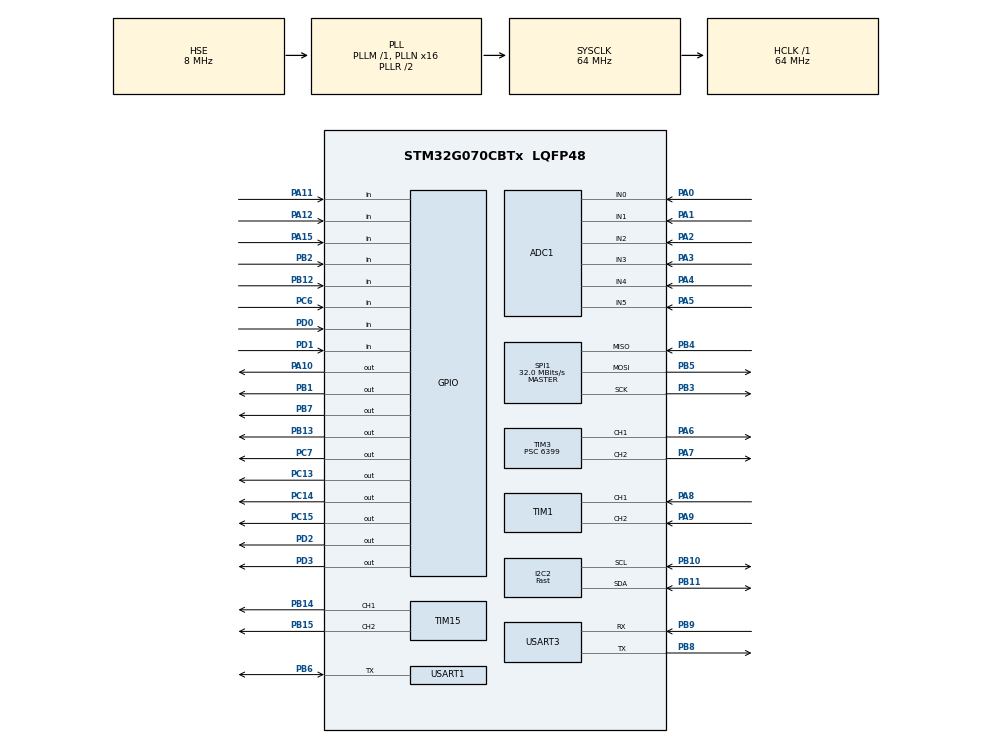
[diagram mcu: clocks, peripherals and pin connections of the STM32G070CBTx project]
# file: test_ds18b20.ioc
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ADC1.Channel-0\#ChannelRegularConversion=ADC_CHANNEL_0
ADC1.NbrOfConversionFlag=1
ADC1.Rank-0\#ChannelRegularConversion=1
ADC1.SamplingTime-0\#ChannelRegularConversion=ADC_SAMPLINGTIME_COMMON_1
ADC1.SelectedChannel=ADC_CHANNEL_0|ADC_CHANNEL_1|ADC_CHANNEL_2|ADC_CHANNEL_3|ADC_CHANNEL_4|ADC_CHANNEL_5|ADC_CHANNEL_TEMPSENSOR|ADC_CHANNEL_VREFINT
ADC1.master=1
I2C2.I2C_Speed_Mode=I2C_Fast
I2C2.Timing=0x00602173
Mcu.Family=STM32G0
Mcu.Name=STM32G070CBTx
Mcu.Package=LQFP48
NVIC.ADC1_IRQn=true\:0\:0\:false\:false\:true\:true\:true\:true
NVIC.I2C2_IRQn=true\:0\:0\:false\:false\:true\:true\:true\:true
NVIC.RCC_IRQn=true\:0\:0\:false\:false\:true\:true\:false\:true
NVIC.SPI1_IRQn=true\:0\:0\:false\:false\:true\:true\:true\:true
NVIC.TIM3_IRQn=true\:0\:0\:false\:false\:true\:true\:true\:true
NVIC.USART3_4_IRQn=true\:0\:0\:false\:false\:true\:true\:true\:true
PA0.Mode=IN0
PA0.Signal=ADC1_IN0
PA1.Mode=IN1
PA1.Signal=ADC1_IN1
PA10.Signal=GPIO_Output
PA11\ [PA9].Signal=GPIO_Input
PA12\ [PA10].Signal=GPIO_Input
PA13.Mode=Serial_Wire
PA13.Signal=SYS_SWDIO
PA14-BOOT0.Mode=Serial_Wire
PA14-BOOT0.Signal=SYS_SWCLK
PA15.Signal=GPIO_Input
PA2.Mode=IN2
PA2.Signal=ADC1_IN2
PA3.Mode=IN3
PA3.Signal=ADC1_IN3
PA4.Mode=IN4
PA4.Signal=ADC1_IN4
PA5.Mode=IN5
PA5.Signal=ADC1_IN5
PA6.Signal=S_TIM3_CH1
PA7.Signal=S_TIM3_CH2
PA8.Signal=S_TIM1_CH1
PA9.Signal=S_TIM1_CH2
PB1.Signal=GPIO_Output
PB10.Mode=I2C
PB10.Signal=I2C2_SCL
PB11.Mode=I2C
PB11.Signal=I2C2_SDA
PB12.Signal=GPIO_Input
PB13.Signal=GPIO_Output
PB14.Signal=S_TIM15_CH1
PB15.Signal=S_TIM15_CH2
PB2.Signal=GPIO_Input
PB3.Mode=Full_Duplex_Master
PB3.Signal=SPI1_SCK
PB4.Mode=Full_Duplex_Master
PB4.Signal=SPI1_MISO
PB5.Mode=Full_Duplex_Master
PB5.Signal=SPI1_MOSI
PB6.Mode=Half_duplex(single_wire_mode)
PB6.Signal=USART1_TX
PB7.Signal=GPIO_Output
PB8.Mode=Asynchronous
PB8.Signal=USART3_TX
PB9.Mode=Asynchronous
PB9.Signal=USART3_RX
PC13.Signal=GPIO_Output
PC14-OSC32_IN\ (PC14).Signal=GPIO_Output
PC15-OSC32_OUT\ (PC15).Signal=GPIO_Output
PC6.Signal=GPIO_Input
PC7.Signal=GPIO_Output
PD0.Signal=GPIO_Input
PD1.Signal=GPIO_Input
PD2.Signal=GPIO_Output
PD3.Signal=GPIO_Output
PF0-OSC_IN\ (PF0).Mode=HSE-External-Oscillator
PF0-OSC_IN\ (PF0).Signal=RCC_OSC_IN
PF1-OSC_OUT\ (PF1).Mode=HSE-External-Oscillator
PF1-OSC_OUT\ (PF1).Signal=RCC_OSC_OUT
ProjectManager.HeapSize=0x200
ProjectManager.StackSize=0x400
ProjectManager.TargetToolchain=STM32CubeIDE
RCC.ADCFreq_Value=64000000
RCC.AHBFreq_Value=64000000
RCC.CortexFreq_Value=64000000
RCC.EXTERNAL_CLOCK_VALUE=48000
RCC.HCLKFreq_Value=64000000
RCC.HSE_VALUE=8000000
RCC.HSI_VALUE=16000000
RCC.LSE_VALUE=32768
RCC.PLLN=16
RCC.PLLSourceVirtual=RCC_PLLSOURCE_HSE
RCC.SYSCLKFreq_VALUE=64000000
RCC.SYSCLKSource=RCC_SYSCLKSOURCE_PLLCLK
RCC.VCOOutputFreq_Value=128000000
SH.S_TIM15_CH1.0=TIM15_CH1,PWM Generation1 CH1
SH.S_TIM15_CH2.0=TIM15_CH2,PWM Generation2 CH2
SH.S_TIM1_CH1.0=TIM1_CH1,Encoder_Interface
SH.S_TIM1_CH2.0=TIM1_CH2,Encoder_Interface
SH.S_TIM3_CH1.0=TIM3_CH1,PWM Generation1 CH1
SH.S_TIM3_CH2.0=TIM3_CH2,PWM Generation2 CH2
SPI1.CalculateBaudRate=32.0 MBits/s
SPI1.DataSize=SPI_DATASIZE_8BIT
SPI1.Direction=SPI_DIRECTION_2LINES
SPI1.Mode=SPI_MODE_MASTER
SPI1.VirtualType=VM_MASTER
TIM15.Channel-PWM\ Generation1\ CH1=TIM_CHANNEL_1
TIM15.Channel-PWM\ Generation2\ CH2=TIM_CHANNEL_2
TIM3.AutoReloadPreload=TIM_AUTORELOAD_PRELOAD_ENABLE
TIM3.Channel-PWM\ Generation1\ CH1=TIM_CHANNEL_1
TIM3.Channel-PWM\ Generation2\ CH2=TIM_CHANNEL_2
TIM3.OCPolarity_1=TIM_OCPOLARITY_LOW
TIM3.OCPolarity_2=TIM_OCPOLARITY_LOW
TIM3.Period=100
TIM3.Prescaler=6399
USART1.VirtualMode-Half_duplex(single_wire_mode)=VM_ASYNC
USART3.VirtualMode-Asynchronous=VM_ASYNC
VP_ADC1_TempSens_Input.Mode=IN-TempSens
VP_ADC1_Vref_Input.Mode=IN-Vrefint
VP_SYS_VS_DBSignals.Mode=DisableDeadBatterySignals
board=custom

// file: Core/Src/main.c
/* USER CODE BEGIN Header */
/**
  ******************************************************************************
  * @file           : main.c
  * @brief          : Main program body
  ******************************************************************************
  * @attention
  *
  * Copyright (c) 2022 STMicroelectronics.
  * All rights reserved.
  *
  * This software is licensed under terms that can be found in the LICENSE file
  * in the root directory of this software component.
  * If no LICENSE file comes with this software, it is provided AS-IS.
  *
  ******************************************************************************
  */
/* USER CODE END Header */
#include "main.h"
#include "adc.h"
#include "i2c.h"
#include "spi.h"
#include "tim.h"
#include "usart.h"
#include "gpio.h"

/* USER CODE BEGIN Includes */
#include "OneWire.h"
/* USER CODE END Includes */

/* USER CODE BEGIN PV */

DS18B20_DATA transfom_temperature = { .temperature = 0, .id = DS18B20_TRANSFORM_TEMP_ID };
DS18B20_DATA transistor_temperature = { .temperature = 0, .id = DS18B20_TRASISTOR_TEMP_ID };

uint32_t start, stop, diff;
uint8_t output_state = 0;

/* USER CODE END PV */

void SystemClock_Config(void);

int main(void)
{

  /* MCU Configuration--------------------------------------------------------*/

  /* Reset of all peripherals, Initializes the Flash interface and the Systick. */
  HAL_Init();

  /* Configure the system clock */
  SystemClock_Config();

  /* Initialize all configured peripherals */
  MX_GPIO_Init();
  MX_ADC1_Init();
  MX_I2C2_Init();
  MX_SPI1_Init();
  MX_TIM1_Init();
  MX_TIM3_Init();
  MX_TIM15_Init();
  MX_USART1_UART_Init();
  MX_USART3_UART_Init();
  /* USER CODE BEGIN 2 */

  DS18B20_GetId();

  HAL_GPIO_WritePin(GPIOA, GPIO_PIN_10, GPIO_PIN_SET);
  HAL_GPIO_WritePin(GPIOC, GPIO_PIN_7, GPIO_PIN_SET);

  /* USER CODE END 2 */

  /* Infinite loop */
  /* USER CODE BEGIN WHILE */
  while (1)
  {

	  start = HAL_GetTick();

	  DS18B20_Process(&transfom_temperature);
	  DS18B20_Process(&transistor_temperature);

	  stop = HAL_GetTick();
	  diff = stop - start;

	  if(HAL_GPIO_ReadPin(GPIOA, GPIO_PIN_11) == GPIO_PIN_SET)
	  {
		  output_state = 1;
	  }

	  else if(HAL_GPIO_ReadPin(GPIOA, GPIO_PIN_12) == GPIO_PIN_SET)
	  {
		  output_state = 2;
	  }
	  else
	  {
		  output_state = 0;
	  }

    /* USER CODE END WHILE */

  }
}

void SystemClock_Config(void)
{
  RCC_OscInitTypeDef RCC_OscInitStruct = {0};
  RCC_ClkInitTypeDef RCC_ClkInitStruct = {0};

  /** Configure the main internal regulator output voltage
  */
  HAL_PWREx_ControlVoltageScaling(PWR_REGULATOR_VOLTAGE_SCALE1);

  /** Initializes the RCC Oscillators according to the specified parameters
  * in the RCC_OscInitTypeDef structure.
  */
  RCC_OscInitStruct.OscillatorType = RCC_OSCILLATORTYPE_HSE;
  RCC_OscInitStruct.HSEState = RCC_HSE_ON;
  RCC_OscInitStruct.PLL.PLLState = RCC_PLL_ON;
  RCC_OscInitStruct.PLL.PLLSource = RCC_PLLSOURCE_HSE;
  RCC_OscInitStruct.PLL.PLLM = RCC_PLLM_DIV1;
  RCC_OscInitStruct.PLL.PLLN = 16;
  RCC_OscInitStruct.PLL.PLLP = RCC_PLLP_DIV2;
  RCC_OscInitStruct.PLL.PLLR = RCC_PLLR_DIV2;
  if (HAL_RCC_OscConfig(&RCC_OscInitStruct) != HAL_OK)
  {
    Error_Handler();
  }

  /** Initializes the CPU, AHB and APB buses clocks
  */
  RCC_ClkInitStruct.ClockType = RCC_CLOCKTYPE_HCLK|RCC_CLOCKTYPE_SYSCLK
                              |RCC_CLOCKTYPE_PCLK1;
  RCC_ClkInitStruct.SYSCLKSource = RCC_SYSCLKSOURCE_PLLCLK;
  RCC_ClkInitStruct.AHBCLKDivider = RCC_SYSCLK_DIV1;
  RCC_ClkInitStruct.APB1CLKDivider = RCC_HCLK_DIV1;

  if (HAL_RCC_ClockConfig(&RCC_ClkInitStruct, FLASH_LATENCY_2) != HAL_OK)
  {
    Error_Handler();
  }
}

void Error_Handler(void)
{
  __disable_irq();
  while (1)
  {
  }
}
